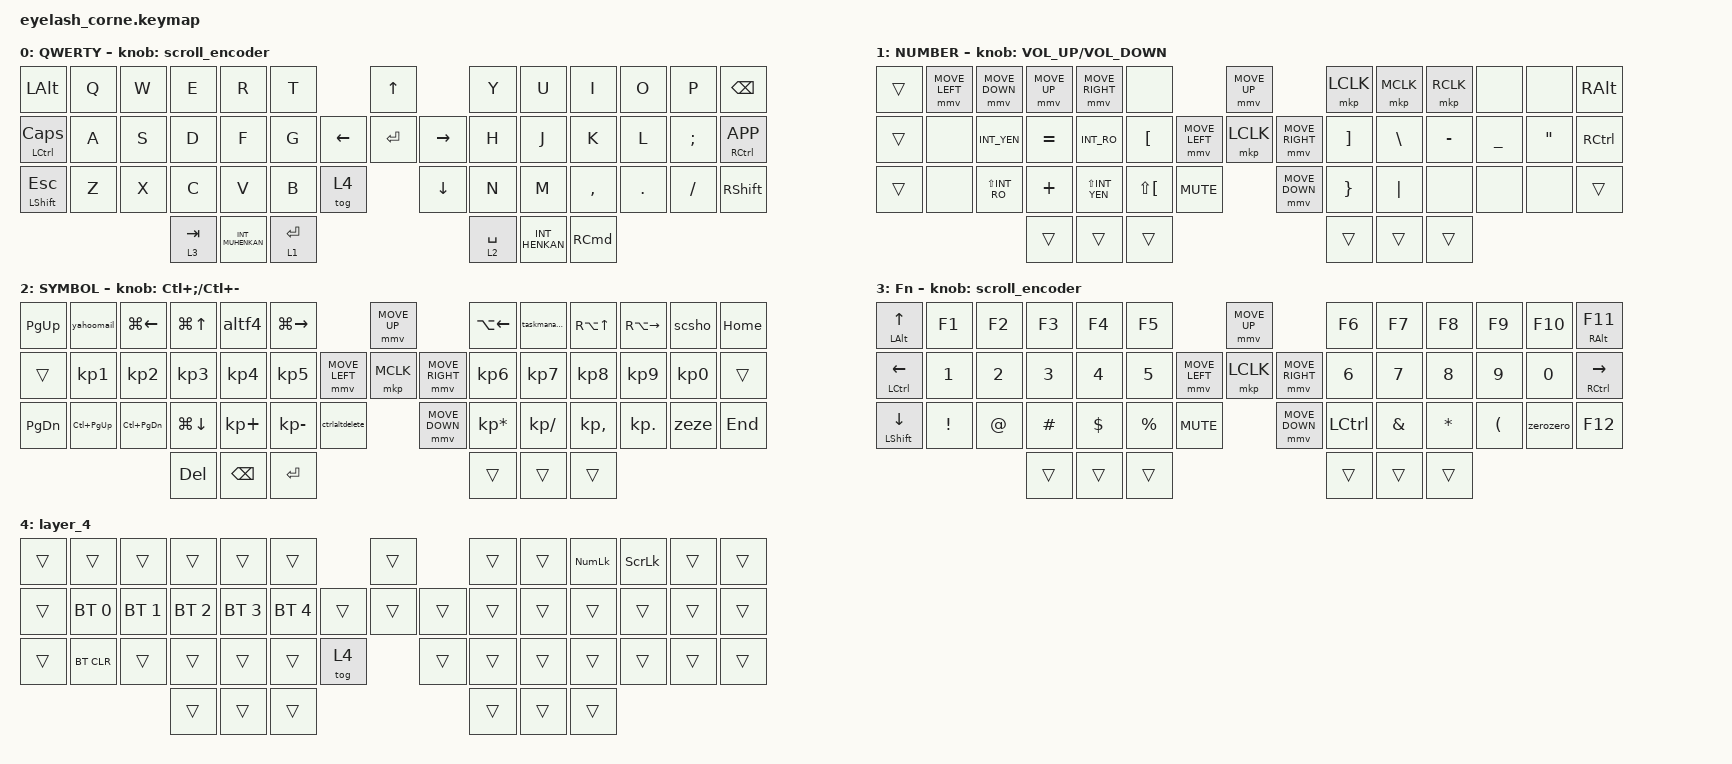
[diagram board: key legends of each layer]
#define ZMK_POINTING_DEFAULT_MOVE_VAL 1200  // 600 // testb
#define ZMK_POINTING_DEFAULT_SCRL_VAL 25   // 10

#include <input/processors.dtsi>
#include <zephyr/dt-bindings/input/input-event-codes.h>
#include <behaviors.dtsi>
#include <dt-bindings/zmk/bt.h>
#include <dt-bindings/zmk/keys.h>
#include <dt-bindings/zmk/pointing.h>
#include <dt-bindings/zmk/rgb.h>

&mmv_input_listener { input-processors = <&zip_xy_scaler 2 1>; };

&msc_input_listener { input-processors = <&zip_scroll_scaler 2 1>; };

&msc {
    acceleration-exponent = <1>;      // 0
    time-to-max-speed-ms = <100>;       // 300
    delay-ms = <0>;                   // 0
};

&mmv {
    time-to-max-speed-ms = <500>;
    acceleration-exponent = <1>;
    trigger-period-ms = <16>;
};

/ {
    behaviors {
        td0: td0 {
            compatible = "zmk,behavior-tap-dance";
            display-name = "Shift/Caps Lock Tap Dance";
            #binding-cells = <0>;
            bindings = <&kp LEFT_SHIFT>, <&kp CAPS>;
        };
    };

    rgb_encoder: rgb_encoder {
        compatible = "zmk,behavior-sensor-rotate";
        #sensor-binding-cells = <0>;
        bindings = <&rgb_ug RGB_BRI>, <&rgb_ug RGB_BRD>;
    };

    scroll_encoder: scroll_encoder {
        compatible = "zmk,behavior-sensor-rotate";
        #sensor-binding-cells = <0>;
        bindings = <&msc SCRL_DOWN>, <&msc SCRL_UP>;

        tap-ms = <100>;
    };

    macros {
        zerozero: new_macro {
            compatible = "zmk,behavior-macro";
            #binding-cells = <0>;
            bindings = <&kp NUMBER_0 &kp NUMBER_0>;
            label = "NEW_MACRO";
        };

        yahoomail: yahoomail {
            compatible = "zmk,behavior-macro";
            #binding-cells = <0>;
            bindings = <&kp K &kp M &kp K &kp O &kp S &kp M &kp LEFT_BRACKET &kp Y &kp A &kp H &kp O &kp O &kp DOT &kp C &kp O &kp DOT &kp J &kp P>;
            label = "YAHOOMAIL";
        };

        taskmanager: taskmanager {
            compatible = "zmk,behavior-macro";
            #binding-cells = <0>;
            bindings = <&kp LS(LC(ESCAPE))>;
            label = "TASKMANAGER";
        };

        scsho: scsho {
            compatible = "zmk,behavior-macro";
            #binding-cells = <0>;
            bindings = <&kp LG(LS(S))>;
            label = "SCSHO";
        };

        zeze: zeze {
            compatible = "zmk,behavior-macro";
            #binding-cells = <0>;
            bindings = <&kp KP_NUMBER_0 &kp KP_NUMBER_0>;
            label = "ZEZE";
        };

        ctrlaltdelete: ctrlaltdelete {
            compatible = "zmk,behavior-macro";
            #binding-cells = <0>;
            bindings = <&kp LA(LC(DEL))>;
            label = "CTRLALTDELETE";
        };

        altf4: altf4 {
            compatible = "zmk,behavior-macro";
            #binding-cells = <0>;
            bindings = <&kp LA(F4)>;
            label = "ALTF4";
        };
    };

    keymap {
        compatible = "zmk,keymap";

        default_layer {
            display-name = "QWERTY";
            bindings = <
&kp LEFT_ALT           &kp Q  &kp W  &kp E      &kp R             &kp T                            &kp UP                &kp Y        &kp U           &kp I              &kp O    &kp P     &kp BSPC
&mt LCTRL CAPSLOCK     &kp A  &kp S  &kp D      &kp F             &kp G                  &kp LEFT  &kp ENTER  &kp RIGHT  &kp H        &kp J           &kp K              &kp L    &kp SEMI  &mt RCTRL K_APP
&mt LEFT_SHIFT ESCAPE  &kp Z  &kp X  &kp C      &kp V             &kp B        &tog 4              &kp DOWN              &kp N        &kp M           &kp COMMA          &kp DOT  &kp FSLH  &kp RSHIFT
                                     &lt 3 TAB  &kp INT_MUHENKAN  &lt 1 ENTER                                            &lt 2 SPACE  &kp INT_HENKAN  &kp RIGHT_COMMAND
            >;

            // sensor-bindings = <&inc_dec_kp C_VOLUME_UP C_VOLUME_DOWN>;

            sensor-bindings = <&scroll_encoder>;
        };

        lower_layer {
            display-name = "NUMBER";
            bindings = <
&trans  &mmv MOVE_LEFT  &mmv MOVE_DOWN  &mmv MOVE_UP  &mmv MOVE_RIGHT  &none                                               &mmv MOVE_UP                     &mkp LCLK          &mkp MCLK  &mkp RCLK  &none      &none              &kp RIGHT_ALT
&trans  &none           &kp INT_YEN     &kp EQUAL     &kp INT_RO       &kp LEFT_BRACKET                    &mmv MOVE_LEFT  &mkp LCLK       &mmv MOVE_RIGHT  &kp RIGHT_BRACKET  &kp BSLH   &kp MINUS  &kp UNDER  &kp DOUBLE_QUOTES  &kp RCTRL
&trans  &none           &kp LS(INT_RO)  &kp PLUS      &kp LS(INT_YEN)  &kp LS(LEFT_BRACKET)  &kp C_MUTE                    &mmv MOVE_DOWN                   &kp RIGHT_BRACE    &kp PIPE   &none      &none      &none              &trans
                                        &trans        &trans           &trans                                                                               &trans             &trans     &trans
            >;

            sensor-bindings = <&inc_dec_kp C_VOLUME_UP C_VOLUME_DOWN>;
        };

        raise_layer {
            display-name = "SYMBOL";
            bindings = <
&kp PAGE_UP    &yahoomail       &kp LG(LEFT_ARROW)  &kp LG(UP_ARROW)    &altf4       &kp LG(RIGHT_ARROW)                                    &mmv MOVE_UP                     &kp LA(LEFT_ARROW)  &taskmanager  &kp RA(UP_ARROW)  &kp RA(RIGHT_ARROW)  &scsho     &kp HOME
&trans         &kp KP_NUMBER_1  &kp KP_N2           &kp KP_N3           &kp KP_N4    &kp KP_N5                              &mmv MOVE_LEFT  &mkp MCLK       &mmv MOVE_RIGHT  &kp KP_N6           &kp KP_N7     &kp KP_N8         &kp KP_N9            &kp KP_N0  &trans
&kp PAGE_DOWN  &kp LC(PAGE_UP)  &kp LC(PAGE_DOWN)   &kp LG(DOWN_ARROW)  &kp KP_PLUS  &kp KP_MINUS         &ctrlaltdelete                    &mmv MOVE_DOWN                   &kp KP_ASTERISK     &kp KP_SLASH  &kp KP_COMMA      &kp KP_DOT           &zeze      &kp END
                                                    &kp DEL             &kp BSPC     &kp ENTER                                                                               &trans              &trans        &trans
            >;

            sensor-bindings = <&inc_dec_kp LC(SEMICOLON) LC(MINUS)>;
        };

        layer_3 {
            display-name = "Fn";
            bindings = <
&mt LEFT_ALT UP_ARROW      &kp F1        &kp F2        &kp F3        &kp F4        &kp F5                                      &mmv MOVE_UP                     &kp F6        &kp F7         &kp F8        &kp F9                &kp F10       &mt RIGHT_ALT F11
&mt LCTRL LEFT_ARROW       &kp NUMBER_1  &kp NUMBER_2  &kp NUMBER_3  &kp NUMBER_4  &kp NUMBER_5                &mmv MOVE_LEFT  &mkp LCLK       &mmv MOVE_RIGHT  &kp NUMBER_6  &kp NUMBER_7   &kp NUMBER_8  &kp NUMBER_9          &kp NUMBER_0  &mt RCTRL RIGHT_ARROW
&mt LEFT_SHIFT DOWN_ARROW  &kp EXCL      &kp AT_SIGN   &kp HASH      &kp DOLLAR    &kp PERCENT   &kp C_MUTE                    &mmv MOVE_DOWN                   &kp LCTRL     &kp AMPERSAND  &kp ASTRK     &kp LEFT_PARENTHESIS  &zerozero     &kp F12
                                                       &trans        &trans        &trans                                                                       &trans        &trans         &trans
            >;

            sensor-bindings = <&scroll_encoder>;
        };

        layer_4 {
            bindings = <
&trans  &trans        &trans        &trans        &trans        &trans                          &trans          &trans  &trans  &kp KP_NUMLOCK  &kp SCROLLLOCK  &trans  &trans
&trans  &bt BT_SEL 0  &bt BT_SEL 1  &bt BT_SEL 2  &bt BT_SEL 3  &bt BT_SEL 4            &trans  &trans  &trans  &trans  &trans  &trans          &trans          &trans  &trans
&trans  &bt BT_CLR    &trans        &trans        &trans        &trans        &tog 4            &trans          &trans  &trans  &trans          &trans          &trans  &trans
                                    &trans        &trans        &trans                                          &trans  &trans  &trans
            >;
        };
    };
};
